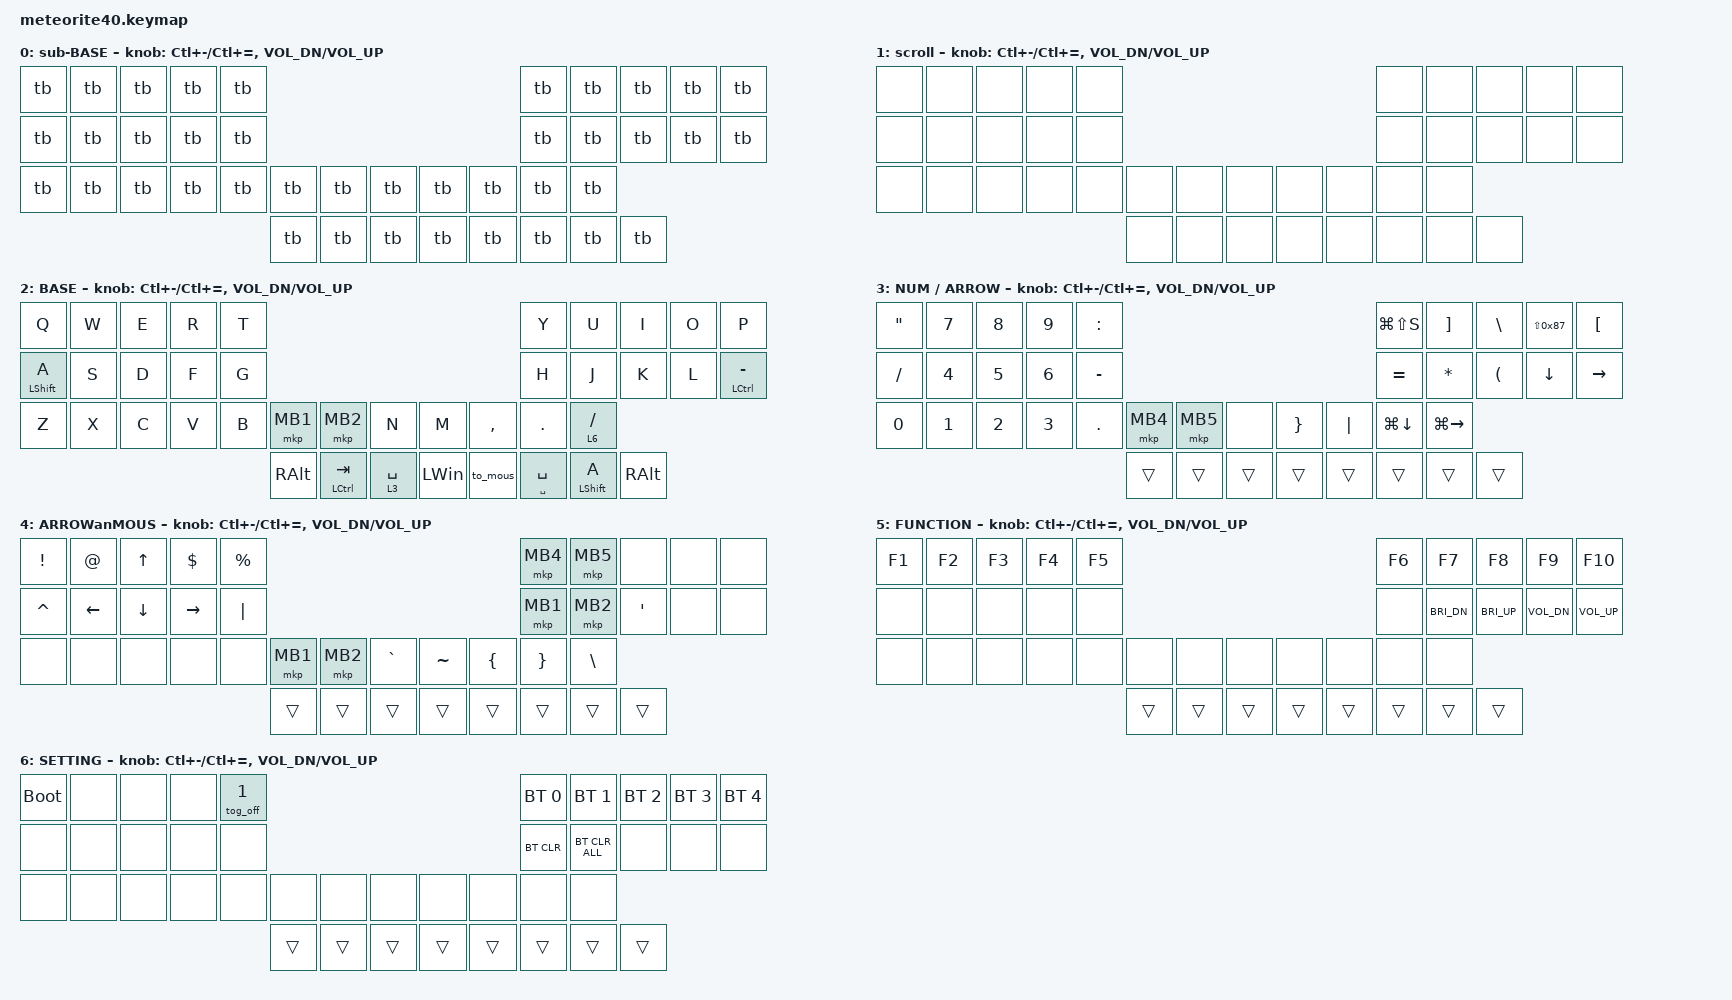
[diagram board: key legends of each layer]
#include <behaviors.dtsi>
#include <dt-bindings/zmk/bt.h>
#include <dt-bindings/zmk/keys.h>
#include <dt-bindings/zmk/pointing.h>

// OS設定を日本語キーボードのまま使用するための変換定義
#define JP_DQUOTE       AT                // "
#define JP_AMPERSAND    CARET             // &
#define JP_QUOTE        AMPERSAND         // '
#define JP_EQUAL        UNDER             // =
#define JP_CARET        EQUAL             // ^
#define JP_YEN          0x89              // ¥
#define JP_PLUS         COLON             // +
#define JP_TILDE        PLUS              // ~
#define JP_PIPE         LS(0x89)          // |
#define JP_AT           LEFT_BRACKET      // @
#define JP_COLON        SINGLE_QUOTE      // :
#define JP_ASTERISK     DOUBLE_QUOTES     // *
#define JP_BACKQUOTE    LEFT_BRACE        // `
#define JP_UNDERSCORE   LS(0x87)          // _
#define JP_LBRACKET     RIGHT_BRACKET     // [
#define JP_RBRACKET     BACKSLASH         // ]
#define JP_LPAREN       ASTERISK          // (
#define JP_RPAREN       LEFT_PARENTHESIS  // )
#define JP_LBRACE       RIGHT_BRACE       // {
#define JP_RBRACE       PIPE              // }
#define JP_KANA         LANGUAGE_1        // かな
#define JP_EISU         LANGUAGE_2        // 英数
#define JP_HANZEN       GRAVE             // 半角/全角

&mt { 
    flavor = "tap-preferred"; // change hold to tap
    tapping-term-ms = <200>;
    quick-tap-ms = <150>; // change 200 to 150
};

&lt {
    flavor = "tap-preferred";
    tapping-term-ms = <150>; // change 200 to 150
    quick-tap-ms = <150>; // change 200 to 150
};

/ { 
    combos {
        compatible = "zmk,combos";

        lang2 {
            bindings = <&kp LANG2>;
            key-positions = <12 13>; /* D + F */
            layers = <0 1 2 3 4 5>;
        };

        lang1 {
            bindings = <&kp LANG1>;
            key-positions = <22 23>; /* C + V */
            layers = <0 1 2 3 4 5>;
        };

        tab {
            bindings = <&kp TAB>;
            key-positions = <10 11>; /* A + S */
            layers = <0 1 2 3 4 5>;
        };

        esk {
            bindings = <&kp ESCAPE>;
            key-positions = <0 1>; /* Q + W */
            layers = <0 1 2 3 4 5>;
        };

        bsp {
            bindings = <&kp BSPC>;
            key-positions = <16 17>; /* J + K */
            layers = <0 1 2 3 4 5>;
        };

        ent {
            bindings = <&kp ENTER>;
            key-positions = <17 18>; /* K + L */
            layers = <0 1 2 3 4 5>;
        };

    };

    behaviors {
        tog_on: toggle_layer_on_only {
            compatible = "zmk,behavior-toggle-layer";
            #binding-cells = <1>;
            display-name = "Toggle Layer On";
            toggle-mode = "on";
        };

        tog_off: toggle_layer_off_only {
            compatible = "zmk,behavior-toggle-layer";
            #binding-cells = <1>;
            display-name = "Toggle Layer Off";
            toggle-mode = "off";
        };
        mt_tm: mod_tap_to_mous { // 引数2個いる。もっとうまい書き方ありそう。
            compatible = "zmk,behavior-hold-tap";
            #binding-cells = <2>;
            flavor = "hold-preferred";
            tapping-term-ms = <200>;
            bindings = <&to_mous>, <&kp>;
            display-name = "Mod-Tap";
        };
    };

    macros {
        to_mous: to_mous_rayer {
            compatible = "zmk,behavior-macro";
            #binding-cells = <0>;
            bindings
                = <&macro_press &tog_off 1 &tog_on 4>
                , <&macro_pause_for_release>
                , <&macro_press &tog_off 4 &tog_on 1>
                ;
        };

        tb: toglle_base {
            compatible = "zmk,behavior-macro";
            #binding-cells = <0>;
            bindings
                = <&macro_press &tog_on 1 &tog_on 2>
                ;
        };
    };

    keymap {
        compatible = "zmk,keymap";
        layout = &LAYOUT_SPLIT_SPACE;

        win_default_layer {
            display-name = "sub-BASE";
            bindings = <
                &tb &tb &tb &tb &tb                     &tb &tb &tb &tb &tb          
                &tb &tb &tb &tb &tb                     &tb &tb &tb &tb &tb            
                &tb &tb &tb &tb &tb &tb &tb &tb &tb &tb &tb &tb                   
                                    &tb &tb &tb &tb &tb &tb &tb &tb 
            >;

            sensor-bindings =
                <&inc_dec_kp LC(MINUS) LC(EQUAL)>, // RE0: ctrl + - / +,,,
                <&inc_dec_kp C_VOL_DN C_VOL_UP>; // RE1: volume down/up
        };

        scrollonly_layer {
            display-name = "scroll";
            bindings = <
                &none &none &none &none &none             &none &none &none &none &none          
                &none &none &none &none &none             &none &none &none &none &none            
                &none &none &none &none &none &none &none &none &none &none &none &none                   
                            &none &none &none &none &none &none &none &none 
            >;

            sensor-bindings =
                <&inc_dec_kp LC(MINUS) LC(EQUAL)>, // RE0: ctrl + - / +,,,
                <&inc_dec_kp C_VOL_DN C_VOL_UP>; // RE1: volume down/up
        };

        layer_2 {
            display-name = "BASE";
            bindings = <
                &kp Q        &kp W       &kp E        &kp R        &kp T                                  &kp Y        &kp U       &kp I       &kp O  &kp P
                &mt LSHIFT A &kp S       &kp D        &kp F        &kp G                                 &kp H        &kp J       &kp K       &kp L  &mt LCTRL MINUS
               &kp Z        &kp X       &kp C        &kp V        &kp B        &mkp MB1     &mkp MB2    &kp N        &kp M       &kp COMMA   &kp DOT  &lt 6 SLASH
                            &kp RALT  &mt LCTRL TAB        &lt 3 SPACE      &kp LWIN     &to_mous  &mt_tm SPACE SPACE  &mt LSHIFT A   &kp RALT
            >;

            sensor-bindings =
                <&inc_dec_kp LC(MINUS) LC(EQUAL)>, // RE0: ctrl + - / +,,,
                <&inc_dec_kp C_VOL_DN C_VOL_UP>; // RE1: volume down/up
        };

        layer_3 {
            display-name = "NUM / ARROW";
            bindings = <
                &kp JP_ASTERISK        &kp N7     &kp N8     &kp N9     &kp JP_PLUS                        &kp LG(LS(S)) &kp JP_LBRACKET  &kp JP_RBRACKET &kp JP_UNDERSCORE &kp JP_AT
                &kp SLASH        &kp N4     &kp N5     &kp N6     &kp MINUS                       &kp EQUAL       &kp JP_LPAREN  &kp JP_RPAREN      &kp DOWN     &kp RIGHT
                &kp N0           &kp N1     &kp N2     &kp N3     &kp DOT  &mkp MB4  &mkp MB5   &none   &kp JP_LBRACE  &kp JP_RBRACE    &kp LG(DOWN) &kp LG(RIGHT)
                                        &trans           &trans     &trans     &trans    &trans        &trans  &trans    &trans 
            >;

            sensor-bindings =
                <&inc_dec_kp LC(MINUS) LC(EQUAL)>, // RE0: ctrl + - / +,,,
                <&inc_dec_kp C_VOL_DN C_VOL_UP>; // RE1: volume down/up

        };

        layer_4 {
            display-name = "ARROWanMOUS";
            bindings = <
                &kp EXCL   &kp AT    &kp UP  &kp DLLR  &kp PRCNT                         &mkp MB4  &mkp MB5   &none   &none     &none
                &kp CARET  &kp LEFT  &kp DOWN  &kp RIGHT  &kp PIPE                       &mkp MB1  &mkp MB2  &kp SQT    &none    &none
                &none      &none     &none     &none     &none      &mkp MB1  &mkp MB2   &kp GRAVE  &kp TILDE  &kp LBRC   &kp RBRC   &kp BACKSLASH
                                     &trans     &trans    &trans    &trans    &trans     &trans    &trans     &trans  
            >;

            sensor-bindings =
                <&inc_dec_kp LC(MINUS) LC(EQUAL)>, // RE0: ctrl + - / +,,,
                <&inc_dec_kp C_VOL_DN C_VOL_UP>; // RE1: volume down/up

        };

        layer_5 {
            display-name = "FUNCTION";
            bindings = <
                &kp F1  &kp F2  &kp F3  &kp F4  &kp F5                  &kp F6  &kp F7  &kp F8  &kp F9  &kp F10
                &none   &none   &none   &none   &none                   &none   &kp C_BRI_DN  &kp C_BRI_UP &kp C_VOL_DN &kp C_VOL_UP
                &none   &none   &none   &none   &none   &none   &none   &none   &none   &none    &none  &none
                                &trans  &trans  &trans  &trans  &trans  &trans  &trans  &trans
            >;

            sensor-bindings =
                <&inc_dec_kp LC(MINUS) LC(EQUAL)>, // RE0: ctrl + - / +,,,
                <&inc_dec_kp C_VOL_DN C_VOL_UP>; // RE1: volume down/up

        };

        layer_6 {
            display-name = "SETTING";
            bindings = <
                &bootloader  &none   &none   &none   &tog_off 1                                 &bt BT_SEL 0   &bt BT_SEL 1    &bt BT_SEL 2  &bt BT_SEL 3  &bt BT_SEL 4
                &none        &none   &none   &none   &none                                 &bt BT_CLR     &bt BT_CLR_ALL  &none         &none         &none
                &none        &none   &none   &none   &none   &none           &none         &none          &none           &none         &none         &none
                                                &trans       &trans  &trans  &trans  &trans  &trans          &trans        &trans
            >;

            sensor-bindings =
                <&inc_dec_kp LC(MINUS) LC(EQUAL)>, // RE0: ctrl + - / +,,,
                <&inc_dec_kp C_VOL_DN C_VOL_UP>; // RE1: volume down/up


        };
    };
};
